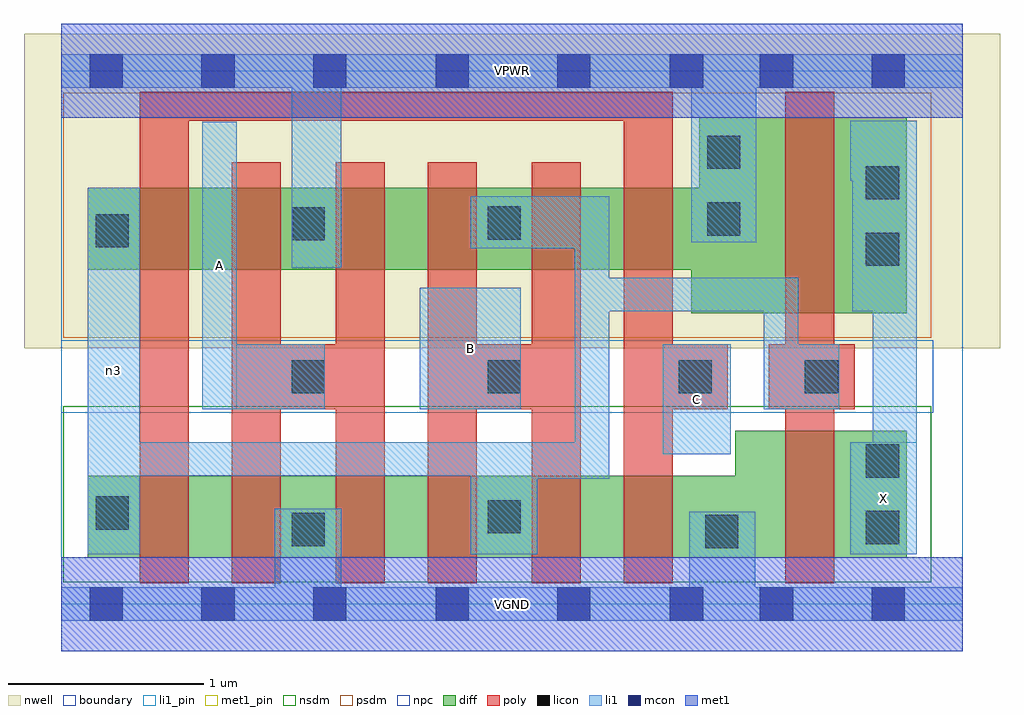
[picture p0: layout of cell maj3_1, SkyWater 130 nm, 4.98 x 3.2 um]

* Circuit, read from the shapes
.subckt maj3_1 A B C VGND VPWR X n3
XM1 n1 C n3 VSUBS sky130_fd_pr__nfet_01v8 w=0.42 l=0.25
XM2 VGND A n1 VSUBS sky130_fd_pr__nfet_01v8 w=0.42 l=0.25
XM3 n2 A VGND VSUBS sky130_fd_pr__nfet_01v8 w=0.42 l=0.25
XM4 n3 B n2 VSUBS sky130_fd_pr__nfet_01v8 w=0.42 l=0.25
XM5 n4 B n3 VSUBS sky130_fd_pr__nfet_01v8 w=0.42 l=0.25
XM6 VGND C n4 VSUBS sky130_fd_pr__nfet_01v8 w=0.42 l=0.25
XM7 X n3 VGND VSUBS sky130_fd_pr__nfet_01v8 w=0.65 l=0.25
XM8 n5 C n3 n6 sky130_fd_pr__pfet_01v8 w=0.42 l=0.25
XM9 VPWR A n5 n6 sky130_fd_pr__pfet_01v8 w=0.42 l=0.25
XM10 n7 A VPWR n6 sky130_fd_pr__pfet_01v8 w=0.42 l=0.25
XM11 n3 B n7 n6 sky130_fd_pr__pfet_01v8 w=0.42 l=0.25
XM12 n8 B n3 n6 sky130_fd_pr__pfet_01v8 w=0.42 l=0.25
XM13 VPWR C n8 n6 sky130_fd_pr__pfet_01v8 w=0.42 l=0.25
XM14 X n3 VPWR n6 sky130_fd_pr__pfet_01v8 w=1 l=0.25
.ends

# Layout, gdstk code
import gdstk
lib = gdstk.Library(unit=1e-6, precision=1e-09)
def R(c, l, rs):  # rectangles x0, y0, x1, y1
    for r in rs: c.add(gdstk.rectangle(r[:2], r[2:], *l))
def A(c, l, x, y, w, h, nx, ny, dx, dy):  # array of equal rectangles
    R(c, l, [(x+i*dx, y+j*dy, x+i*dx+w, y+j*dy+h) for i in range(nx) for j in range(ny)])
nwell = (64, 20)
diff = (65, 20)
poly = (66, 20)
licon = (66, 44)
li1_pin = (67, 16)
li1 = (67, 20)
mcon = (67, 44)
met1_pin = (68, 16)
met1 = (68, 20)
nsdm = (93, 44)
psdm = (94, 20)
npc = (95, 20)
boundary = (235, 4)

maj3_1 = lib.new_cell('maj3_1')
R(maj3_1, nwell, [(-0.19,1.305,4.79,2.91), (0,1.305,4.6,2.91)])
R(maj3_1, diff, [(0.135,0.235,4.315,0.655), (3.44,0.235,4.315,0.885), (3.215,1.485,4.315,2.125), (3.255,1.485,4.315,2.485), (0.135,1.705,4.315,2.125)])
R(maj3_1, poly, [(0.4,0.105,0.65,2.615), (0.87,0.105,1.12,2.255), (1.4,0.105,1.65,2.255), (1.87,0.105,2.12,2.255), (2.4,0.105,2.65,2.255), (2.87,0.105,3.12,2.615), (3.695,0.105,3.945,2.615), (0.87,0.995,1.65,1.325), (1.87,0.995,2.65,1.325), (2.87,0.995,3.4,1.325), (3.61,0.995,4.05,1.325), (0.4,2.465,3.12,2.615)])
A(maj3_1, licon, 1.175, 0.295, 0.17, 0.17, 1, 3, 0, 0.78)
R(maj3_1, licon, [(3.285,0.285,3.455,0.455), (4.105,0.305,4.275,0.475), (2.175,0.36,2.345,0.53), (0.175,0.38,0.345,0.55), (4.105,0.645,4.275,0.815), (2.175,1.075,2.345,1.245), (3.15,1.075,3.32,1.245), (3.795,1.075,3.965,1.245), (4.105,1.725,4.275,1.895), (0.175,1.82,0.345,1.99), (2.175,1.86,2.345,2.03), (3.295,1.88,3.465,2.05), (4.105,2.065,4.275,2.235), (3.295,2.22,3.465,2.39)])
R(maj3_1, li1_pin, [(4.025,0.255,4.365,0.825), (3.07,0.765,3.415,1.325), (0.72,0.995,0.895,2.46), (1.83,0.995,2.345,1.615)])
R(maj3_1, li1, [(0,-0.085,4.6,0.085), (1.09,-0.085,1.43,0.485), (3.205,-0.085,3.54,0.47), (0.135,0.255,0.4,2.125), (2.09,0.255,2.43,0.825), (4.025,0.255,4.365,0.825), (4.14,0.255,4.365,2.465), (2.09,0.64,2.795,0.825), (2.62,0.64,2.795,2.08), (0.135,0.655,2.795,0.825), (3.07,0.765,3.415,1.325), (0.72,0.995,0.895,2.46), (0.72,0.995,1.345,1.325), (1.83,0.995,2.345,1.615), (3.585,0.995,3.97,1.325), (3.585,0.995,3.76,1.665), (2.62,1.495,3.76,1.665), (4.035,1.495,4.365,2.465), (1.175,1.715,1.43,2.805), (2.09,1.815,2.795,2.08), (3.215,1.845,3.545,2.805), (4.025,2.16,4.365,2.465), (0,2.635,4.6,2.805)])
A(maj3_1, mcon, 0.145, -0.085, 0.17, 0.17, 3, 2, 0.57, 2.72)
R(maj3_1, mcon, [(1.91,-0.085,2.08,0.085), (2.53,-0.085,2.7,0.085), (3.105,-0.085,3.275,0.085), (3.565,-0.085,3.735,0.085), (4.135,-0.085,4.305,0.085), (1.91,2.635,2.08,2.805), (2.53,2.635,2.7,2.805), (3.105,2.635,3.275,2.805), (3.565,2.635,3.735,2.805), (4.135,2.635,4.305,2.805)])
R(maj3_1, met1_pin, [(0,-0.24,4.6,0.24), (0,2.48,4.6,2.96)])
R(maj3_1, met1, [(0,-0.24,4.6,0.24), (0,2.48,4.6,2.96)])
R(maj3_1, nsdm, [(0.01,0.11,4.44,1.01)])
R(maj3_1, psdm, [(0.01,1.36,4.44,2.61)])
R(maj3_1, npc, [(0,0.975,4.45,1.345)])
R(maj3_1, boundary, [(0,0,4.6,2.72)])
maj3_1.add(gdstk.Label('A', (0.807,1.727), layer=67, texttype=5))
maj3_1.add(gdstk.Label('B', (2.087,1.305), layer=67, texttype=5))
maj3_1.add(gdstk.Label('C', (3.242,1.045), layer=67, texttype=5))
maj3_1.add(gdstk.Label('X', (4.195,0.54), layer=67, texttype=5))
maj3_1.add(gdstk.Label('n3', (0.267,1.19), layer=67, texttype=5))
maj3_1.add(gdstk.Label('VPWR', (2.3,2.72), layer=68, texttype=5))
maj3_1.add(gdstk.Label('VGND', (2.3,0), layer=68, texttype=5))
maj3_1.add(gdstk.Label('A', (0.807,1.727), layer=67, texttype=16))
maj3_1.add(gdstk.Label('B', (2.087,1.305), layer=67, texttype=16))
maj3_1.add(gdstk.Label('C', (3.242,1.045), layer=67, texttype=16))
maj3_1.add(gdstk.Label('X', (4.195,0.54), layer=67, texttype=16))
maj3_1.add(gdstk.Label('VPWR', (2.3,2.72), layer=68, texttype=16))
maj3_1.add(gdstk.Label('VGND', (2.3,0), layer=68, texttype=16))

lib.write_gds('maj3_1.gds')
